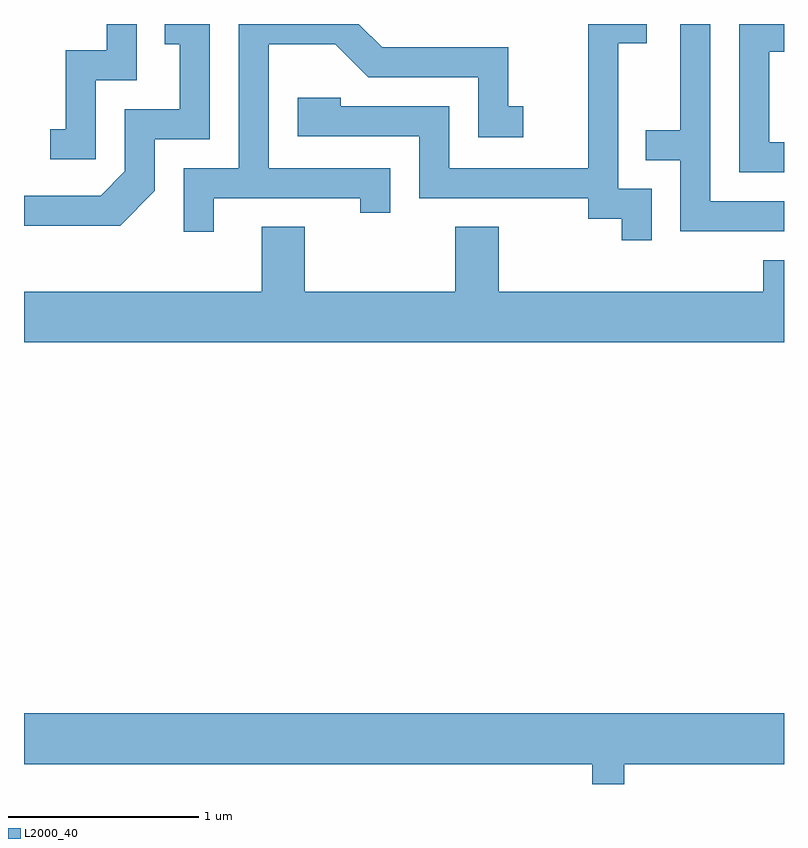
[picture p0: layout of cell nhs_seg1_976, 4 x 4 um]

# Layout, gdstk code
import gdstk
lib = gdstk.Library(unit=1e-6, precision=1e-09)
def P(c, l, *ps):  # polygons
    for p in ps: c.add(gdstk.Polygon(p, *l))
L2000_40 = (2000, 40)

nhs_seg1_976 = lib.new_cell('nhs_seg1_976')
P(nhs_seg1_976, L2000_40, [(216.299,884.834),(216.299,885.106),(216.589,885.106),(216.589,885.712),(216.353,885.712),(216.353,885.606),(216.431,885.606),(216.431,885.264),(216.141,885.264),(216.141,884.937),(216.014,884.809),(215.611,884.809),(215.611,884.651),(216.117,884.651)],
  [(216.609,884.796),(217.381,884.796),(217.381,884.718),(217.539,884.718),(217.539,884.954),(216.899,884.954),(216.899,885.606),(217.249,885.606),(217.424,885.431),(218.001,885.431),(218.001,885.116),(218.238,885.116),(218.238,885.279),(218.159,885.279),(218.159,885.589),(217.497,885.589),(217.374,885.712),(216.741,885.712),(216.741,884.954),(216.451,884.954),(216.451,884.618),(216.609,884.618)],
  [(219.611,885.089),(219.534,885.089),(219.534,885.566),(219.611,885.566),(219.611,885.712),(219.376,885.712),(219.376,884.931),(219.611,884.931)],
  [(215.989,885.416),(216.204,885.416),(216.204,885.712),(216.046,885.712),(216.046,885.574),(215.831,885.574),(215.831,885.159),(215.748,885.159),(215.748,885.001),(215.989,885.001)],
  [(219.611,884.779),(219.224,884.779),(219.224,885.712),(219.066,885.712),(219.066,885.154),(218.883,885.154),(218.883,884.996),(219.066,884.996),(219.066,884.621),(219.611,884.621)],
  [(218.914,884.844),(218.739,884.844),(218.739,885.611),(218.889,885.611),(218.889,885.712),(218.581,885.712),(218.581,884.954),(217.849,884.954),(217.849,885.279),(217.279,885.279),(217.279,885.324),(217.051,885.324),(217.051,885.121),(217.691,885.121),(217.691,884.796),(218.581,884.796),(218.581,884.686),(218.756,884.686),(218.756,884.573),(218.914,884.573)],
  [(219.611,884.469),(219.501,884.469),(219.501,884.304),(218.109,884.304),(218.109,884.644),(217.881,884.644),(217.881,884.304),(217.089,884.304),(217.089,884.644),(216.861,884.644),(216.861,884.304),(215.611,884.304),(215.611,884.036),(219.611,884.036)],
  [(218.769,881.816),(219.611,881.816),(219.611,882.084),(215.611,882.084),(215.611,881.816),(218.601,881.816),(218.601,881.712),(218.769,881.712)])

lib.write_gds('nhs_seg1_976.gds')
